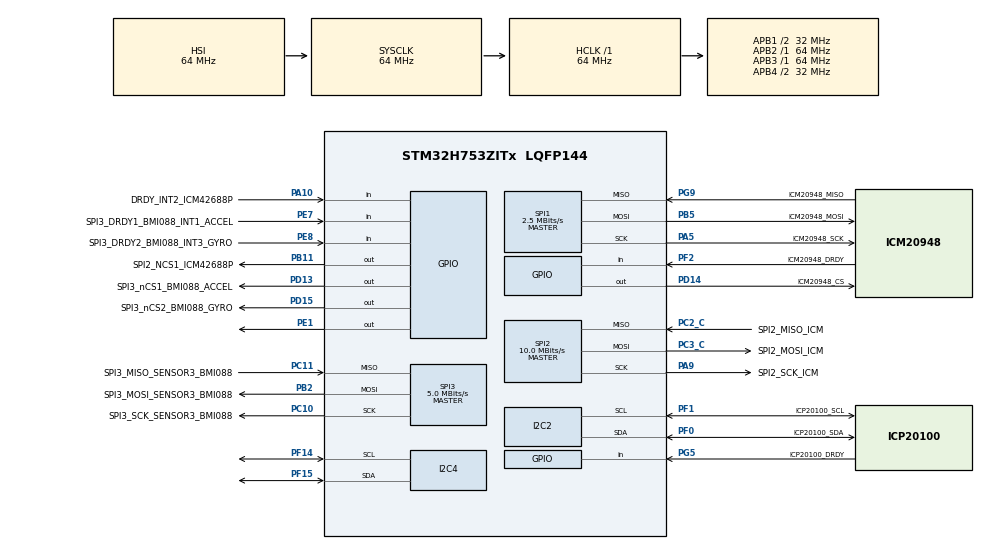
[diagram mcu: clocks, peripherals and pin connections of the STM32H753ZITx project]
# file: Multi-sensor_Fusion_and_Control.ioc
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CORTEX_M7.default_mode_Activation=1
I2C2.Timing=0x00707CBB
I2C4.Timing=0x00707CBB
Mcu.Family=STM32H7
Mcu.Name=STM32H753ZITx
Mcu.Package=LQFP144
NVIC.PriorityGroup=NVIC_PRIORITYGROUP_4
PA10.GPIO_Label=DRDY_INT2_ICM42688P
PA10.Signal=GPIO_Input
PA5.GPIO_Label=ICM20948_SCK
PA5.Mode=Full_Duplex_Master
PA5.Signal=SPI1_SCK
PA9.GPIO_Label=SPI2_SCK_ICM
PA9.GPIO_Speed=GPIO_SPEED_FREQ_HIGH
PA9.Mode=Full_Duplex_Master
PA9.Signal=SPI2_SCK
PB11.GPIO_Label=SPI2_NCS1_ICM42688P
PB11.GPIO_PuPd=GPIO_PULLUP
PB11.Signal=GPIO_Output
PB2.GPIO_Label=SPI3_MOSI_SENSOR3_BMI088
PB2.Mode=Full_Duplex_Master
PB2.Signal=SPI3_MOSI
PB5.GPIO_Label=ICM20948_MOSI
PB5.Mode=Full_Duplex_Master
PB5.Signal=SPI1_MOSI
PC10.GPIO_Label=SPI3_SCK_SENSOR3_BMI088
PC10.Mode=Full_Duplex_Master
PC10.Signal=SPI3_SCK
PC11.GPIO_Label=SPI3_MISO_SENSOR3_BMI088
PC11.Mode=Full_Duplex_Master
PC11.Signal=SPI3_MISO
PC2_C.GPIO_Label=SPI2_MISO_ICM
PC2_C.GPIO_Speed=GPIO_SPEED_FREQ_HIGH
PC2_C.Mode=Full_Duplex_Master
PC2_C.Signal=SPI2_MISO
PC3_C.GPIO_Label=SPI2_MOSI_ICM
PC3_C.GPIO_Speed=GPIO_SPEED_FREQ_HIGH
PC3_C.Mode=Full_Duplex_Master
PC3_C.Signal=SPI2_MOSI
PD13.GPIO_Label=SPI3_nCS1_BMI088_ACCEL
PD13.PinState=GPIO_PIN_SET
PD13.Signal=GPIO_Output
PD14.GPIO_Label=ICM20948_CS
PD14.GPIO_Speed=GPIO_SPEED_FREQ_MEDIUM
PD14.PinState=GPIO_PIN_SET
PD14.Signal=GPIO_Output
PD15.GPIO_Label=SPI3_nCS2_BMI088_GYRO
PD15.PinState=GPIO_PIN_SET
PD15.Signal=GPIO_Output
PE1.Signal=GPIO_Output
PE7.GPIO_Label=SPI3_DRDY1_BMI088_INT1_ACCEL
PE7.Signal=GPIO_Input
PE8.GPIO_Label=SPI3_DRDY2_BMI088_INT3_GYRO
PE8.Signal=GPIO_Input
PF0.GPIO_Label=ICP20100_SDA
PF0.GPIO_Pu=GPIO_PULLUP
PF0.GPIO_Speed=GPIO_SPEED_FREQ_HIGH
PF0.Mode=I2C
PF0.Signal=I2C2_SDA
PF1.GPIO_Label=ICP20100_SCL
PF1.GPIO_Pu=GPIO_PULLUP
PF1.GPIO_Speed=GPIO_SPEED_FREQ_HIGH
PF1.Mode=I2C
PF1.Signal=I2C2_SCL
PF14.GPIO_Pu=GPIO_PULLUP
PF14.GPIO_Speed=GPIO_SPEED_FREQ_HIGH
PF14.Mode=I2C
PF14.Signal=I2C4_SCL
PF15.GPIO_Pu=GPIO_PULLUP
PF15.GPIO_Speed=GPIO_SPEED_FREQ_HIGH
PF15.Mode=I2C
PF15.Signal=I2C4_SDA
PF2.GPIO_Label=ICM20948_DRDY
PF2.Signal=GPIO_Input
PG5.GPIO_Label=ICP20100_DRDY
PG5.Signal=GPIO_Input
PG9.GPIO_Label=ICM20948_MISO
PG9.Mode=Full_Duplex_Master
PG9.Signal=SPI1_MISO
ProjectManager.HeapSize=0x800
ProjectManager.StackSize=0xF00
ProjectManager.TargetToolchain=STM32CubeIDE
RCC.ADCFreq_Value=129000000
RCC.APB1Freq_Value=32000000
RCC.APB2Freq_Value=64000000
RCC.APB3Freq_Value=64000000
RCC.APB4Freq_Value=32000000
RCC.CortexFreq_Value=64000000
RCC.D2PPRE1=RCC_APB1_DIV2
RCC.D3PPRE=RCC_APB4_DIV2
RCC.DIVM1=4
RCC.DIVN1=10
RCC.HCLKFreq_Value=64000000
RCC.PLLFRACN=0
RCC.SYSCLKFreq_VALUE=64000000
RCC.USBFreq_Value=80000000
SPI1.BaudRatePrescaler=SPI_BAUDRATEPRESCALER_32
SPI1.CLKPhase=SPI_PHASE_2EDGE
SPI1.CLKPolarity=SPI_POLARITY_HIGH
SPI1.CalculateBaudRate=2.5 MBits/s
SPI1.DataSize=SPI_DATASIZE_8BIT
SPI1.Direction=SPI_DIRECTION_2LINES
SPI1.Mode=SPI_MODE_MASTER
SPI1.VirtualType=VM_MASTER
SPI2.BaudRatePrescaler=SPI_BAUDRATEPRESCALER_8
SPI2.CLKPhase=SPI_PHASE_2EDGE
SPI2.CLKPolarity=SPI_POLARITY_HIGH
SPI2.CalculateBaudRate=10.0 MBits/s
SPI2.DataSize=SPI_DATASIZE_8BIT
SPI2.Direction=SPI_DIRECTION_2LINES
SPI2.Mode=SPI_MODE_MASTER
SPI2.VirtualType=VM_MASTER
SPI3.BaudRatePrescaler=SPI_BAUDRATEPRESCALER_16
SPI3.CLKPhase=SPI_PHASE_2EDGE
SPI3.CLKPolarity=SPI_POLARITY_HIGH
SPI3.CalculateBaudRate=5.0 MBits/s
SPI3.DataSize=SPI_DATASIZE_8BIT
SPI3.Direction=SPI_DIRECTION_2LINES
SPI3.Mode=SPI_MODE_MASTER
SPI3.VirtualType=VM_MASTER
VP_MEMORYMAP_VS_MEMORYMAP.Mode=CurAppReg
board=custom

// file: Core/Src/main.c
/* USER CODE BEGIN Header */
/**
  ******************************************************************************
  * @file           : main.c
  * @brief          : Main program body
  ******************************************************************************
  * @attention
  *
  * Copyright (c) 2025 STMicroelectronics.
  * All rights reserved.
  *
  * This software is licensed under terms that can be found in the LICENSE file
  * in the root directory of this software component.
  * If no LICENSE file comes with this software, it is provided AS-IS.
  *
  ******************************************************************************
  */
/* USER CODE END Header */
#include "main.h"

/* USER CODE BEGIN Includes */
#include <stdio.h>
#include "icm20948_driver.h"
#include "icp20100.h" // 引入 ICP20100 驅動程式庫
#include "icm42688p.h" // 引入 ICM-42688-P 驅動程式頭文件
#include "sensor_error_handler.h" //錯誤處理
#include "rm3100.h"
#include "BMI088.h"
/* USER CODE END Includes */

I2C_HandleTypeDef hi2c2;
I2C_HandleTypeDef hi2c4;

SPI_HandleTypeDef hspi1;
SPI_HandleTypeDef hspi2;
SPI_HandleTypeDef hspi3;

/* USER CODE BEGIN PV */
//ICM42688p
int16_t accel_data[3]; // 用於儲存加速計 X, Y, Z 軸原始數據的陣列
int16_t gyro_data[3];  // 用於儲存陀螺儀 X, Y, Z 軸原始數據的陣列
// 感測器轉換後數據
float ICM42688paccel_g[3];
float ICM42688pgyro_dps[3];
RM3100_Data magData;

/* USER CODE END PV */

void SystemClock_Config(void);
static void MPU_Config(void);
static void MX_GPIO_Init(void);
static void MX_SPI1_Init(void);
static void MX_I2C2_Init(void);
static void MX_SPI2_Init(void);
static void MX_I2C4_Init(void);
static void MX_SPI3_Init(void);

int main(void)
{

  /* MPU Configuration--------------------------------------------------------*/
  MPU_Config();

  /* MCU Configuration--------------------------------------------------------*/

  /* Reset of all peripherals, Initializes the Flash interface and the Systick. */
  HAL_Init();

  /* Configure the system clock */
  SystemClock_Config();

  /* Initialize all configured peripherals */
  MX_GPIO_Init();
  MX_SPI1_Init();
  MX_I2C2_Init();
  MX_SPI2_Init();
  MX_I2C4_Init();
  MX_SPI3_Init();
  /* USER CODE BEGIN 2 */
#define MAX_INIT_ATTEMPTS 10 // 定義最大INIT嘗試次數
  int attempt_count = 0;// INIT嘗試計數
  /* Initialize ICM-20948 sensor ----------------------------------------------------------*/
  HAL_StatusTypeDef ICM20948_status;
  printf("<ICM-20948> System initialization...\r\n");
  // 使用 for 迴圈嘗試初始化，最多10次
  for (attempt_count = 1; attempt_count <= MAX_INIT_ATTEMPTS; ++attempt_count) {
      ICM20948_status = ICM20948_Init(); // 執行初始化
      if (ICM20948_status == SENSOR_OK) {
          // 如果成功，就跳出迴圈，attempt_count歸零
    	  attempt_count = 0;
          break;
      }
      // 如果失敗，印出嘗試失敗的訊息
      printf("<ICM-20948> Initialization FAILED on attempt %d/%d. Retrying...\r\n", attempt_count, MAX_INIT_ATTEMPTS);
      HAL_Delay(200); // 在下次嘗試前延遲一小段時間，讓感測器有時間重置
  }
  // 在迴圈結束後，根據最終的狀態來判斷並印出訊息
  if (ICM20948_status == SENSOR_OK) {
      printf("<ICM-20948> Initialization Successfully on attempt #%d\r\n", attempt_count);
  } else {
	  printf("<ICM-20948> Initialization FAILED Error Code: %d\r\n", ICM20948_status);
  }
  HAL_Delay(2000);
  	/* Initialize ICP-20100 sensor ----------------------------------------------------------*/
  ICP20100_StatusTypeDef icp20100_status;
   printf("<ICP-20100> System initialization...\r\n");
   // 使用 for 迴圈嘗試初始化，最多10次
   for (attempt_count = 1; attempt_count <= MAX_INIT_ATTEMPTS; ++attempt_count) {
	   icp20100_status = icp20100_init(&hi2c2); // 執行初始化
       if (icp20100_status == SENSOR_OK) {
           // 如果成功，就跳出迴圈，attempt_count歸零
     	  attempt_count = 0;
           break;
       }
       // 如果失敗，印出嘗試失敗的訊息
       printf("<ICP-20100> Initialization FAILED on attempt %d/%d. Retrying...\r\n", attempt_count, MAX_INIT_ATTEMPTS);
       HAL_Delay(200); // 在下次嘗試前延遲一小段時間，讓感測器有時間重置
   }
   // 在迴圈結束後，根據最終的狀態來判斷並印出訊息
   if (icp20100_status == SENSOR_OK) {
       printf("<ICP-20100> Initialization Successfully on attempt #%d\r\n", attempt_count);
   } else {
 	  printf("<ICP-20100> Initialization FAILED Error Code: %d\r\n", icp20100_status);
   }
   HAL_Delay(2000);
   /* Initialize ICP-20100 sensor ----------------------------------------------------------*/

   /* Initialize ICM-42688-P sensor ----------------------------------------------------------*/
   	   HAL_StatusTypeDef icm42688p_status;
      printf("<ICM-42688-P> System initialization...\r\n");
      // 使用 for 迴圈嘗試初始化，最多10次
      for (attempt_count = 1; attempt_count <= MAX_INIT_ATTEMPTS; ++attempt_count) {
    	  icm42688p_status = icm42688p_init(&hspi2); // 執行初始化
          if (icm42688p_status == SENSOR_OK) {
              // 如果成功，就跳出迴圈，attempt_count歸零
        	  attempt_count = 0;
              break;
          }
          // 如果失敗，印出嘗試失敗的訊息
          printf("<ICM-42688-P> Initialization FAILED on attempt %d/%d. Retrying...\r\n", attempt_count, MAX_INIT_ATTEMPTS);
          HAL_Delay(200); // 在下次嘗試前延遲一小段時間，讓感測器有時間重置
      }
      // 在迴圈結束後，根據最終的狀態來判斷並印出訊息
      if (icm42688p_status == SENSOR_OK) {
          printf("<ICM-42688-P> Initialization Successfully on attempt #%d\r\n", attempt_count);
      } else {
    	  printf("<ICM-42688-P> Initialization FAILED Error Code: %d\r\n", icm42688p_status);
      }
      HAL_Delay(2000);
      /* Initialize ICM-42688-P sensor ----------------------------------------------------------*/

	/* Initialize RM-3100 sensor ----------------------------------------------------------*/
      HAL_StatusTypeDef rm3100_status;
     	      printf("<RM-3100> System initialization...\r\n");
     	      // 使用 for 迴圈嘗試初始化，最多10次
     	      for (attempt_count = 1; attempt_count <= MAX_INIT_ATTEMPTS; ++attempt_count) {
     	    	 rm3100_status = SENSOR_OK; // 執行初始化
     	          if (rm3100_status == SENSOR_OK) {
     	              // 如果成功，就跳出迴圈，attempt_count歸零
     	        	  attempt_count = 0;
     	              break;
     	          }
     	          // 如果失敗，印出嘗試失敗的訊息
     	          printf("<RM-3100> Initialization FAILED on attempt %d/%d. Retrying...\r\n", attempt_count, MAX_INIT_ATTEMPTS);
     	          HAL_Delay(200); // 在下次嘗試前延遲一小段時間，讓感測器有時間重置
     	      }
     	      // 在迴圈結束後，根據最終的狀態來判斷並印出訊息
     	      if (rm3100_status == SENSOR_OK) {
     	          printf("<RM-3100> Initialization Successfully on attempt #%d\r\n", attempt_count);
     	      } else {
     	    	  printf("<RM-3100> Initialization FAILED Error Code: %d\r\n", rm3100_status);
     	      }
     	      HAL_Delay(2000);
	/* Initialize RM-3100 sensor ----------------------------------------------------------*/

	/* Initialize BMI-088 sensor ----------------------------------------------------------*/
	 HAL_StatusTypeDef BMI088_status;
	      printf("<BMI-088> System initialization...\r\n");
	      // 使用 for 迴圈嘗試初始化，最多10次
	      for (attempt_count = 1; attempt_count <= MAX_INIT_ATTEMPTS; ++attempt_count) {
	    	  BMI088_status = BMI088_Init(); // 執行初始化
	          if (BMI088_status == SENSOR_OK) {
	              // 如果成功，就跳出迴圈，attempt_count歸零
	        	  attempt_count = 0;
	              break;
	          }
	          // 如果失敗，印出嘗試失敗的訊息
	          printf("<BMI-088> Initialization FAILED on attempt %d/%d. Retrying...\r\n", attempt_count, MAX_INIT_ATTEMPTS);
	          HAL_Delay(200); // 在下次嘗試前延遲一小段時間，讓感測器有時間重置
	      }
	      // 在迴圈結束後，根據最終的狀態來判斷並印出訊息
	      if (BMI088_status == SENSOR_OK) {
	          printf("<BMI-088> Initialization Successfully on attempt #%d\r\n", attempt_count);
	      } else {
	    	  printf("<BMI-088> Initialization FAILED Error Code: %d\r\n", BMI088_status);
	      }
	      HAL_Delay(2000);
		/* Initialize BMI-088 sensor ----------------------------------------------------------*/
  /* USER CODE END 2 */

  /* Infinite loop */
  while (1)
  {

    /* USER CODE BEGIN 3 */
	  printf("-----------------------<ICM20948>----------------------- \n");
	  ICM20948_Main();
	  HAL_Delay(1000);
	  printf("-----------------------<ICP20100>----------------------- \n");
	  ICP20100_Main(&hi2c2);
	  HAL_Delay(1000);
	  printf("-----------------------<ICM42688p>----------------------- \n");
	  // icm42688p讀取加速計原始數據
	  icm42688p_read_accel_raw(&hspi2, accel_data);
	  // icm42688p讀取陀螺儀原始數據
	  icm42688p_read_gyro_raw(&hspi2, gyro_data);
	  //icm42688p 將原始數據轉換為物理單位
	  ICM42688p_ConvertAccelRawToG(accel_data, ICM42688paccel_g);
	  ICM42688p_ConvertGyroRawToDPS(gyro_data, ICM42688pgyro_dps);
	  //icm42688p 確保 accel_data 和 gyro_data 陣列的索引正確 (0=X, 1=Y, 2=Z)
	  printf("<ICM42688p> accel_data: X=%.2f, Y=%.2f, Z=%.2f\r\n", ICM42688paccel_g[0], ICM42688paccel_g[1], ICM42688paccel_g[2]);
	  printf("<ICM42688p> gyro_data: X=%.2f, Y=%.2f, Z=%.2f\r\n", ICM42688pgyro_dps[0], ICM42688pgyro_dps[1], ICM42688pgyro_dps[2]);
	  printf("The data is OK\r\n");
	  HAL_Delay(1000);
	  printf("-----------------------<RM-3100>----------------------- \n");
	  RM3100_Main(&hi2c4, &magData);
	  HAL_Delay(1000);
	  printf("-----------------------<BMI-088>----------------------- \n");
	  BMI088_Main();
//	  printf("Failed to read data from BMI-088. Error Code: 4\r\n");
	  printf("-----------------------Test End----------------------- \r\n\r\n");
	  while (1)
	   {}
	 // <<< 新增：呼叫封裝好的函數 >>>
	 //ICM42688P_Main(&hspi2); // <<<<<<<<<<<<<<<<<<<<<<<<<<<<<<<<<< 新增這一行
//	  while(1){
//		  HAL_GPIO_WritePin(GPIOE, GPIO_PIN_1, GPIO_PIN_SET);
//		  HAL_Delay(100);
//		  HAL_GPIO_WritePin(GPIOE, GPIO_PIN_1, GPIO_PIN_RESET);
//		  HAL_Delay(100);
//	  }

//	  printf("archer %d \n",WWE);
//	  WWE++;
  }
  /* USER CODE END 3 */
}

void SystemClock_Config(void)
{
  RCC_OscInitTypeDef RCC_OscInitStruct = {0};
  RCC_ClkInitTypeDef RCC_ClkInitStruct = {0};

  /** Supply configuration update enable
  */
  HAL_PWREx_ConfigSupply(PWR_LDO_SUPPLY);

  /** Configure the main internal regulator output voltage
  */
  __HAL_PWR_VOLTAGESCALING_CONFIG(PWR_REGULATOR_VOLTAGE_SCALE3);

  while(!__HAL_PWR_GET_FLAG(PWR_FLAG_VOSRDY)) {}

  /** Initializes the RCC Oscillators according to the specified parameters
  * in the RCC_OscInitTypeDef structure.
  */
  RCC_OscInitStruct.OscillatorType = RCC_OSCILLATORTYPE_HSI;
  RCC_OscInitStruct.HSIState = RCC_HSI_DIV1;
  RCC_OscInitStruct.HSICalibrationValue = RCC_HSICALIBRATION_DEFAULT;
  RCC_OscInitStruct.PLL.PLLState = RCC_PLL_ON;
  RCC_OscInitStruct.PLL.PLLSource = RCC_PLLSOURCE_HSI;
  RCC_OscInitStruct.PLL.PLLM = 4;
  RCC_OscInitStruct.PLL.PLLN = 10;
  RCC_OscInitStruct.PLL.PLLP = 2;
  RCC_OscInitStruct.PLL.PLLQ = 2;
  RCC_OscInitStruct.PLL.PLLR = 2;
  RCC_OscInitStruct.PLL.PLLRGE = RCC_PLL1VCIRANGE_3;
  RCC_OscInitStruct.PLL.PLLVCOSEL = RCC_PLL1VCOMEDIUM;
  RCC_OscInitStruct.PLL.PLLFRACN = 0;
  if (HAL_RCC_OscConfig(&RCC_OscInitStruct) != HAL_OK)
  {
    Error_Handler();
  }

  /** Initializes the CPU, AHB and APB buses clocks
  */
  RCC_ClkInitStruct.ClockType = RCC_CLOCKTYPE_HCLK|RCC_CLOCKTYPE_SYSCLK
                              |RCC_CLOCKTYPE_PCLK1|RCC_CLOCKTYPE_PCLK2
                              |RCC_CLOCKTYPE_D3PCLK1|RCC_CLOCKTYPE_D1PCLK1;
  RCC_ClkInitStruct.SYSCLKSource = RCC_SYSCLKSOURCE_HSI;
  RCC_ClkInitStruct.SYSCLKDivider = RCC_SYSCLK_DIV1;
  RCC_ClkInitStruct.AHBCLKDivider = RCC_HCLK_DIV1;
  RCC_ClkInitStruct.APB3CLKDivider = RCC_APB3_DIV1;
  RCC_ClkInitStruct.APB1CLKDivider = RCC_APB1_DIV2;
  RCC_ClkInitStruct.APB2CLKDivider = RCC_APB2_DIV1;
  RCC_ClkInitStruct.APB4CLKDivider = RCC_APB4_DIV2;

  if (HAL_RCC_ClockConfig(&RCC_ClkInitStruct, FLASH_LATENCY_1) != HAL_OK)
  {
    Error_Handler();
  }
}

static void MX_I2C2_Init(void)
{

  hi2c2.Instance = I2C2;
  hi2c2.Init.Timing = 0x00707CBB;
  hi2c2.Init.OwnAddress1 = 0;
  hi2c2.Init.AddressingMode = I2C_ADDRESSINGMODE_7BIT;
  hi2c2.Init.DualAddressMode = I2C_DUALADDRESS_DISABLE;
  hi2c2.Init.OwnAddress2 = 0;
  hi2c2.Init.OwnAddress2Masks = I2C_OA2_NOMASK;
  hi2c2.Init.GeneralCallMode = I2C_GENERALCALL_DISABLE;
  hi2c2.Init.NoStretchMode = I2C_NOSTRETCH_DISABLE;
  if (HAL_I2C_Init(&hi2c2) != HAL_OK)
  {
    Error_Handler();
  }

  /** Configure Analogue filter
  */
  if (HAL_I2CEx_ConfigAnalogFilter(&hi2c2, I2C_ANALOGFILTER_ENABLE) != HAL_OK)
  {
    Error_Handler();
  }

  /** Configure Digital filter
  */
  if (HAL_I2CEx_ConfigDigitalFilter(&hi2c2, 0) != HAL_OK)
  {
    Error_Handler();
  }

}

static void MX_I2C4_Init(void)
{

  hi2c4.Instance = I2C4;
  hi2c4.Init.Timing = 0x00707CBB;
  hi2c4.Init.OwnAddress1 = 0;
  hi2c4.Init.AddressingMode = I2C_ADDRESSINGMODE_7BIT;
  hi2c4.Init.DualAddressMode = I2C_DUALADDRESS_DISABLE;
  hi2c4.Init.OwnAddress2 = 0;
  hi2c4.Init.OwnAddress2Masks = I2C_OA2_NOMASK;
  hi2c4.Init.GeneralCallMode = I2C_GENERALCALL_DISABLE;
  hi2c4.Init.NoStretchMode = I2C_NOSTRETCH_DISABLE;
  if (HAL_I2C_Init(&hi2c4) != HAL_OK)
  {
    Error_Handler();
  }

  /** Configure Analogue filter
  */
  if (HAL_I2CEx_ConfigAnalogFilter(&hi2c4, I2C_ANALOGFILTER_ENABLE) != HAL_OK)
  {
    Error_Handler();
  }

  /** Configure Digital filter
  */
  if (HAL_I2CEx_ConfigDigitalFilter(&hi2c4, 0) != HAL_OK)
  {
    Error_Handler();
  }

}

static void MX_SPI1_Init(void)
{

  /* SPI1 parameter configuration*/
  hspi1.Instance = SPI1;
  hspi1.Init.Mode = SPI_MODE_MASTER;
  hspi1.Init.Direction = SPI_DIRECTION_2LINES;
  hspi1.Init.DataSize = SPI_DATASIZE_8BIT;
  hspi1.Init.CLKPolarity = SPI_POLARITY_HIGH;
  hspi1.Init.CLKPhase = SPI_PHASE_2EDGE;
  hspi1.Init.NSS = SPI_NSS_SOFT;
  hspi1.Init.BaudRatePrescaler = SPI_BAUDRATEPRESCALER_32;
  hspi1.Init.FirstBit = SPI_FIRSTBIT_MSB;
  hspi1.Init.TIMode = SPI_TIMODE_DISABLE;
  hspi1.Init.CRCCalculation = SPI_CRCCALCULATION_DISABLE;
  hspi1.Init.CRCPolynomial = 0x0;
  hspi1.Init.NSSPMode = SPI_NSS_PULSE_ENABLE;
  hspi1.Init.NSSPolarity = SPI_NSS_POLARITY_LOW;
  hspi1.Init.FifoThreshold = SPI_FIFO_THRESHOLD_01DATA;
  hspi1.Init.TxCRCInitializationPattern = SPI_CRC_INITIALIZATION_ALL_ZERO_PATTERN;
  hspi1.Init.RxCRCInitializationPattern = SPI_CRC_INITIALIZATION_ALL_ZERO_PATTERN;
  hspi1.Init.MasterSSIdleness = SPI_MASTER_SS_IDLENESS_00CYCLE;
  hspi1.Init.MasterInterDataIdleness = SPI_MASTER_INTERDATA_IDLENESS_00CYCLE;
  hspi1.Init.MasterReceiverAutoSusp = SPI_MASTER_RX_AUTOSUSP_DISABLE;
  hspi1.Init.MasterKeepIOState = SPI_MASTER_KEEP_IO_STATE_DISABLE;
  hspi1.Init.IOSwap = SPI_IO_SWAP_DISABLE;
  if (HAL_SPI_Init(&hspi1) != HAL_OK)
  {
    Error_Handler();
  }

}

static void MX_SPI2_Init(void)
{

  /* SPI2 parameter configuration*/
  hspi2.Instance = SPI2;
  hspi2.Init.Mode = SPI_MODE_MASTER;
  hspi2.Init.Direction = SPI_DIRECTION_2LINES;
  hspi2.Init.DataSize = SPI_DATASIZE_8BIT;
  hspi2.Init.CLKPolarity = SPI_POLARITY_HIGH;
  hspi2.Init.CLKPhase = SPI_PHASE_2EDGE;
  hspi2.Init.NSS = SPI_NSS_SOFT;
  hspi2.Init.BaudRatePrescaler = SPI_BAUDRATEPRESCALER_8;
  hspi2.Init.FirstBit = SPI_FIRSTBIT_MSB;
  hspi2.Init.TIMode = SPI_TIMODE_DISABLE;
  hspi2.Init.CRCCalculation = SPI_CRCCALCULATION_DISABLE;
  hspi2.Init.CRCPolynomial = 0x0;
  hspi2.Init.NSSPMode = SPI_NSS_PULSE_ENABLE;
  hspi2.Init.NSSPolarity = SPI_NSS_POLARITY_LOW;
  hspi2.Init.FifoThreshold = SPI_FIFO_THRESHOLD_01DATA;
  hspi2.Init.TxCRCInitializationPattern = SPI_CRC_INITIALIZATION_ALL_ZERO_PATTERN;
  hspi2.Init.RxCRCInitializationPattern = SPI_CRC_INITIALIZATION_ALL_ZERO_PATTERN;
  hspi2.Init.MasterSSIdleness = SPI_MASTER_SS_IDLENESS_00CYCLE;
  hspi2.Init.MasterInterDataIdleness = SPI_MASTER_INTERDATA_IDLENESS_00CYCLE;
  hspi2.Init.MasterReceiverAutoSusp = SPI_MASTER_RX_AUTOSUSP_DISABLE;
  hspi2.Init.MasterKeepIOState = SPI_MASTER_KEEP_IO_STATE_DISABLE;
  hspi2.Init.IOSwap = SPI_IO_SWAP_DISABLE;
  if (HAL_SPI_Init(&hspi2) != HAL_OK)
  {
    Error_Handler();
  }

}

static void MX_SPI3_Init(void)
{

  /* SPI3 parameter configuration*/
  hspi3.Instance = SPI3;
  hspi3.Init.Mode = SPI_MODE_MASTER;
  hspi3.Init.Direction = SPI_DIRECTION_2LINES;
  hspi3.Init.DataSize = SPI_DATASIZE_8BIT;
  hspi3.Init.CLKPolarity = SPI_POLARITY_HIGH;
  hspi3.Init.CLKPhase = SPI_PHASE_2EDGE;
  hspi3.Init.NSS = SPI_NSS_SOFT;
  hspi3.Init.BaudRatePrescaler = SPI_BAUDRATEPRESCALER_16;
  hspi3.Init.FirstBit = SPI_FIRSTBIT_MSB;
  hspi3.Init.TIMode = SPI_TIMODE_DISABLE;
  hspi3.Init.CRCCalculation = SPI_CRCCALCULATION_DISABLE;
  hspi3.Init.CRCPolynomial = 0x0;
  hspi3.Init.NSSPMode = SPI_NSS_PULSE_ENABLE;
  hspi3.Init.NSSPolarity = SPI_NSS_POLARITY_LOW;
  hspi3.Init.FifoThreshold = SPI_FIFO_THRESHOLD_01DATA;
  hspi3.Init.TxCRCInitializationPattern = SPI_CRC_INITIALIZATION_ALL_ZERO_PATTERN;
  hspi3.Init.RxCRCInitializationPattern = SPI_CRC_INITIALIZATION_ALL_ZERO_PATTERN;
  hspi3.Init.MasterSSIdleness = SPI_MASTER_SS_IDLENESS_00CYCLE;
  hspi3.Init.MasterInterDataIdleness = SPI_MASTER_INTERDATA_IDLENESS_00CYCLE;
  hspi3.Init.MasterReceiverAutoSusp = SPI_MASTER_RX_AUTOSUSP_DISABLE;
  hspi3.Init.MasterKeepIOState = SPI_MASTER_KEEP_IO_STATE_DISABLE;
  hspi3.Init.IOSwap = SPI_IO_SWAP_DISABLE;
  if (HAL_SPI_Init(&hspi3) != HAL_OK)
  {
    Error_Handler();
  }

}

static void MX_GPIO_Init(void)
{
  GPIO_InitTypeDef GPIO_InitStruct = {0};

  /* GPIO Ports Clock Enable */
  __HAL_RCC_GPIOF_CLK_ENABLE();
  __HAL_RCC_GPIOC_CLK_ENABLE();
  __HAL_RCC_GPIOA_CLK_ENABLE();
  __HAL_RCC_GPIOB_CLK_ENABLE();
  __HAL_RCC_GPIOE_CLK_ENABLE();
  __HAL_RCC_GPIOD_CLK_ENABLE();
  __HAL_RCC_GPIOG_CLK_ENABLE();

  /*Configure GPIO pin Output Level */
  HAL_GPIO_WritePin(SPI2_NCS1_ICM42688P_GPIO_Port, SPI2_NCS1_ICM42688P_Pin, GPIO_PIN_RESET);

  /*Configure GPIO pin Output Level */
  HAL_GPIO_WritePin(GPIOD, SPI3_nCS1_BMI088_ACCEL_Pin|ICM20948_CS_Pin|SPI3_nCS2_BMI088_GYRO_Pin, GPIO_PIN_SET);

  /*Configure GPIO pin Output Level */
  HAL_GPIO_WritePin(GPIOE, GPIO_PIN_1, GPIO_PIN_RESET);

  /*Configure GPIO pin : ICM20948_DRDY_Pin */
  GPIO_InitStruct.Pin = ICM20948_DRDY_Pin;
  GPIO_InitStruct.Mode = GPIO_MODE_INPUT;
  GPIO_InitStruct.Pull = GPIO_NOPULL;
  HAL_GPIO_Init(ICM20948_DRDY_GPIO_Port, &GPIO_InitStruct);

  /*Configure GPIO pins : SPI3_DRDY1_BMI088_INT1_ACCEL_Pin SPI3_DRDY2_BMI088_INT3_GYRO_Pin */
  GPIO_InitStruct.Pin = SPI3_DRDY1_BMI088_INT1_ACCEL_Pin|SPI3_DRDY2_BMI088_INT3_GYRO_Pin;
  GPIO_InitStruct.Mode = GPIO_MODE_INPUT;
  GPIO_InitStruct.Pull = GPIO_NOPULL;
  HAL_GPIO_Init(GPIOE, &GPIO_InitStruct);

  /*Configure GPIO pin : SPI2_NCS1_ICM42688P_Pin */
  GPIO_InitStruct.Pin = SPI2_NCS1_ICM42688P_Pin;
  GPIO_InitStruct.Mode = GPIO_MODE_OUTPUT_PP;
  GPIO_InitStruct.Pull = GPIO_PULLUP;
  GPIO_InitStruct.Speed = GPIO_SPEED_FREQ_LOW;
  HAL_GPIO_Init(SPI2_NCS1_ICM42688P_GPIO_Port, &GPIO_InitStruct);

  /*Configure GPIO pins : SPI3_nCS1_BMI088_ACCEL_Pin SPI3_nCS2_BMI088_GYRO_Pin */
  GPIO_InitStruct.Pin = SPI3_nCS1_BMI088_ACCEL_Pin|SPI3_nCS2_BMI088_GYRO_Pin;
  GPIO_InitStruct.Mode = GPIO_MODE_OUTPUT_PP;
  GPIO_InitStruct.Pull = GPIO_NOPULL;
  GPIO_InitStruct.Speed = GPIO_SPEED_FREQ_LOW;
  HAL_GPIO_Init(GPIOD, &GPIO_InitStruct);

  /*Configure GPIO pin : ICM20948_CS_Pin */
  GPIO_InitStruct.Pin = ICM20948_CS_Pin;
  GPIO_InitStruct.Mode = GPIO_MODE_OUTPUT_PP;
  GPIO_InitStruct.Pull = GPIO_NOPULL;
  GPIO_InitStruct.Speed = GPIO_SPEED_FREQ_MEDIUM;
  HAL_GPIO_Init(ICM20948_CS_GPIO_Port, &GPIO_InitStruct);

  /*Configure GPIO pin : ICP20100_DRDY_Pin */
  GPIO_InitStruct.Pin = ICP20100_DRDY_Pin;
  GPIO_InitStruct.Mode = GPIO_MODE_INPUT;
  GPIO_InitStruct.Pull = GPIO_NOPULL;
  HAL_GPIO_Init(ICP20100_DRDY_GPIO_Port, &GPIO_InitStruct);

  /*Configure GPIO pin : DRDY_INT2_ICM42688P_Pin */
  GPIO_InitStruct.Pin = DRDY_INT2_ICM42688P_Pin;
  GPIO_InitStruct.Mode = GPIO_MODE_INPUT;
  GPIO_InitStruct.Pull = GPIO_NOPULL;
  HAL_GPIO_Init(DRDY_INT2_ICM42688P_GPIO_Port, &GPIO_InitStruct);

  /*Configure GPIO pin : PE1 */
  GPIO_InitStruct.Pin = GPIO_PIN_1;
  GPIO_InitStruct.Mode = GPIO_MODE_OUTPUT_PP;
  GPIO_InitStruct.Pull = GPIO_NOPULL;
  GPIO_InitStruct.Speed = GPIO_SPEED_FREQ_LOW;
  HAL_GPIO_Init(GPIOE, &GPIO_InitStruct);

}

/* USER CODE BEGIN 4 */
int _write(int file, char *ptr, int len)
{
  (void)file;
  int DataIdx;

  for (DataIdx = 0; DataIdx < len; DataIdx++)
  {
    ITM_SendChar(*ptr++);
  }
  return len;
}
/* USER CODE END 4 */

 /* MPU Configuration */

void MPU_Config(void)
{
  MPU_Region_InitTypeDef MPU_InitStruct = {0};

  /* Disables the MPU */
  HAL_MPU_Disable();

  /** Initializes and configures the Region and the memory to be protected
  */
  MPU_InitStruct.Enable = MPU_REGION_ENABLE;
  MPU_InitStruct.Number = MPU_REGION_NUMBER0;
  MPU_InitStruct.BaseAddress = 0x0;
  MPU_InitStruct.Size = MPU_REGION_SIZE_4GB;
  MPU_InitStruct.SubRegionDisable = 0x87;
  MPU_InitStruct.TypeExtField = MPU_TEX_LEVEL0;
  MPU_InitStruct.AccessPermission = MPU_REGION_NO_ACCESS;
  MPU_InitStruct.DisableExec = MPU_INSTRUCTION_ACCESS_DISABLE;
  MPU_InitStruct.IsShareable = MPU_ACCESS_SHAREABLE;
  MPU_InitStruct.IsCacheable = MPU_ACCESS_NOT_CACHEABLE;
  MPU_InitStruct.IsBufferable = MPU_ACCESS_NOT_BUFFERABLE;

  HAL_MPU_ConfigRegion(&MPU_InitStruct);
  /* Enables the MPU */
  HAL_MPU_Enable(MPU_PRIVILEGED_DEFAULT);

}

void Error_Handler(void)
{
  __disable_irq();
  while (1)
  {
  }
}
